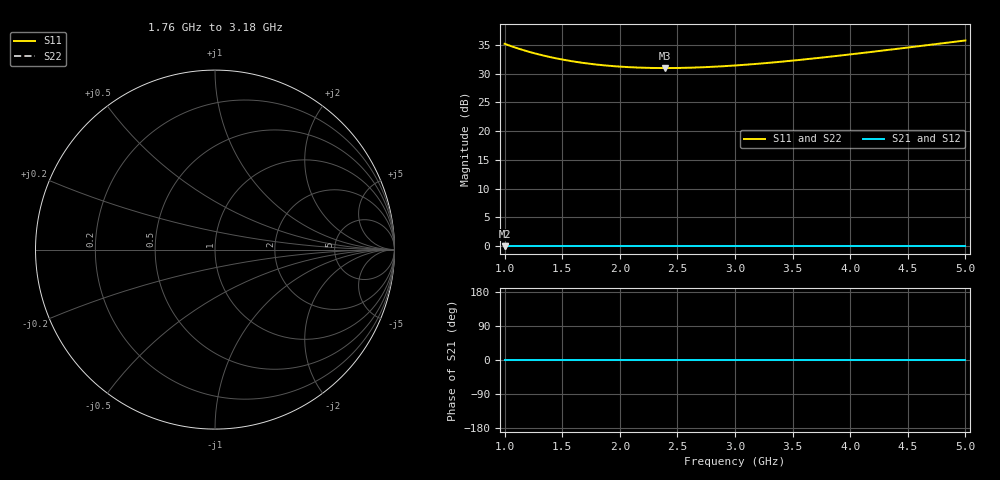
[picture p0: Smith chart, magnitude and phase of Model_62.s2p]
# GHZ S RI R 50
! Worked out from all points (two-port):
!   401 points, 1 GHz to 5 GHz, reference 50 ohm
!   highest |S21| = 0.00 dB at 1 GHz (marker M1); lowest = 0.0 dB at 1 GHz (marker M2)
!   |S21| within 3 dB of the highest: start of sweep to end of sweep
!   lowest |S11| = 31.0 dB at 2.39 GHz (marker M3)
!   |S11| at or under -10 dB: nowhere
!   |S22| runs from 31.0 to 35.8 dB; largest |S21 - S12| = 0
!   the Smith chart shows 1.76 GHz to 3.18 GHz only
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1  57.54 0  1 0  1 0  57.54 0
1.02  56.56 0  1 0  1 0  56.56 0
1.15  51.13 0  1 0  1 0  51.13 0
1.22  48.76 0  1 0  1 0  48.76 0
1.3  46.43 0  1 0  1 0  46.43 0
1.38  44.45 0  1 0  1 0  44.45 0
1.47  42.55 0  1 0  1 0  42.55 0
1.57  40.81 0  1 0  1 0  40.81 0
1.67  39.39 0  1 0  1 0  39.39 0
1.82  37.75 0  1 0  1 0  37.75 0
1.98  36.55 0  1 0  1 0  36.55 0
2.15  35.78 0  1 0  1 0  35.78 0
2.34  35.41 0  1 0  1 0  35.41 0
2.39  35.4 0  1 0  1 0  35.4 0
2.68  35.84 0  1 0  1 0  35.84 0
3  37.26 0  1 0  1 0  37.26 0
3.33  39.59 0  1 0  1 0  39.59 0
3.67  42.76 0  1 0  1 0  42.76 0
4  46.53 0  1 0  1 0  46.53 0
4.34  51.04 0  1 0  1 0  51.04 0
4.64  55.53 0  1 0  1 0  55.53 0
5  61.52 0  1 0  1 0  61.52 0
